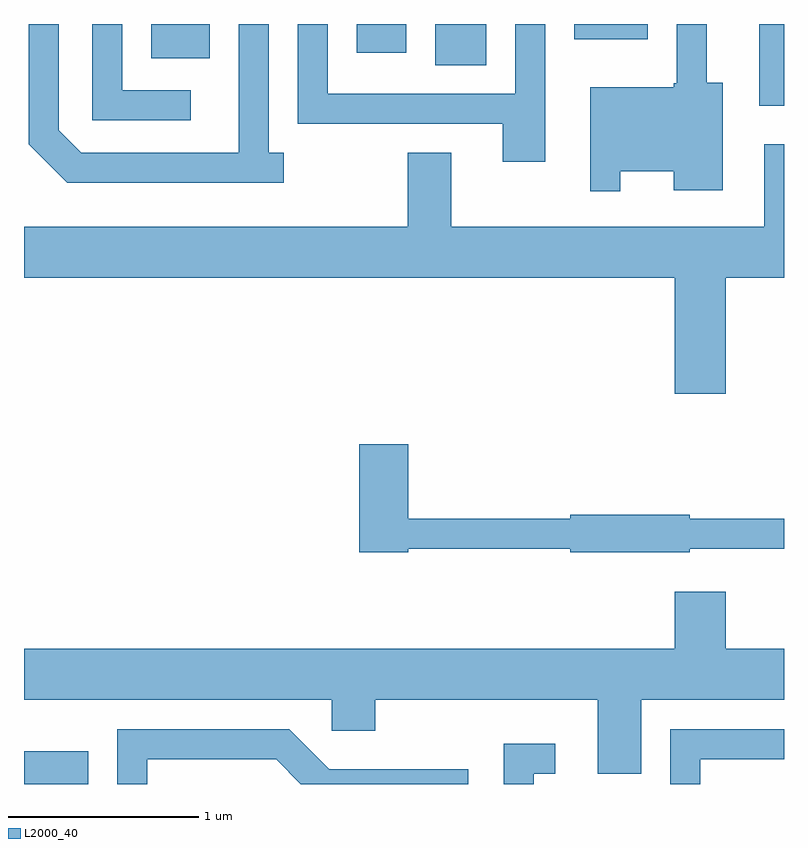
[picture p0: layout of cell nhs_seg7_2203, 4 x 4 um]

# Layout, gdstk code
import gdstk
lib = gdstk.Library(unit=1e-6, precision=1e-09)
def R(c, l, rs):  # rectangles x0, y0, x1, y1
    for r in rs: c.add(gdstk.rectangle(r[:2], r[2:], *l))
def P(c, l, *ps):  # polygons
    for p in ps: c.add(gdstk.Polygon(p, *l))
L2000_40 = (2000, 40)

nhs_seg7_2203 = lib.new_cell('nhs_seg7_2203')
R(nhs_seg7_2203, L2000_40, [(251.611,1778.252,251.949,1778.424), (255.481,1781.821,255.611,1782.252), (253.776,1782.036,254.044,1782.252), (252.281,1782.071,252.589,1782.252), (253.361,1782.101,253.624,1782.252), (254.506,1782.171,254.894,1782.252)])
P(nhs_seg7_2203, L2000_40, [(254.354,1782.252),(254.196,1782.252),(254.196,1781.884),(253.209,1781.884),(253.209,1782.252),(253.051,1782.252),(253.051,1781.726),(254.131,1781.726),(254.131,1781.526),(254.354,1781.526)],
  [(254.749,1781.476),(255.031,1781.476),(255.031,1781.376),(255.289,1781.376),(255.289,1781.944),(255.204,1781.944),(255.204,1782.252),(255.046,1782.252),(255.046,1781.94),(255.031,1781.94),(255.031,1781.919),(254.591,1781.919),(254.591,1781.373),(254.749,1781.373)],
  [(252.488,1781.904),(252.129,1781.904),(252.129,1782.252),(251.971,1782.252),(251.971,1781.746),(252.488,1781.746)],
  [(252.978,1781.574),(252.899,1781.574),(252.899,1782.252),(252.741,1782.252),(252.741,1781.574),(251.912,1781.574),(251.794,1781.692),(251.794,1782.252),(251.636,1782.252),(251.636,1781.619),(251.839,1781.416),(252.978,1781.416)],
  [(255.304,1780.916),(255.611,1780.916),(255.611,1781.618),(255.506,1781.618),(255.506,1781.184),(253.859,1781.184),(253.859,1781.574),(253.631,1781.574),(253.631,1781.184),(251.611,1781.184),(251.611,1780.916),(255.036,1780.916),(255.036,1780.306),(255.304,1780.306)],
  [(253.634,1779.491),(254.486,1779.491),(254.486,1779.471),(255.114,1779.471),(255.114,1779.491),(255.611,1779.491),(255.611,1779.649),(255.114,1779.649),(255.114,1779.669),(254.486,1779.669),(254.486,1779.649),(253.634,1779.649),(253.634,1780.039),(253.376,1780.039),(253.376,1779.471),(253.634,1779.471)],
  [(251.611,1778.696),(253.231,1778.696),(253.231,1778.531),(253.459,1778.531),(253.459,1778.696),(254.631,1778.696),(254.631,1778.306),(254.859,1778.306),(254.859,1778.696),(255.611,1778.696),(255.611,1778.964),(255.304,1778.964),(255.304,1779.264),(255.036,1779.264),(255.036,1778.964),(251.611,1778.964)],
  [(252.259,1778.381),(252.939,1778.381),(253.068,1778.252),(253.949,1778.252),(253.949,1778.329),(253.217,1778.329),(253.007,1778.539),(252.101,1778.539),(252.101,1778.252),(252.259,1778.252)],
  [(255.169,1778.381),(255.611,1778.381),(255.611,1778.539),(255.011,1778.539),(255.011,1778.252),(255.169,1778.252)],
  [(254.294,1778.306),(254.408,1778.306),(254.408,1778.464),(254.136,1778.464),(254.136,1778.252),(254.294,1778.252)])

lib.write_gds('nhs_seg7_2203.gds')
